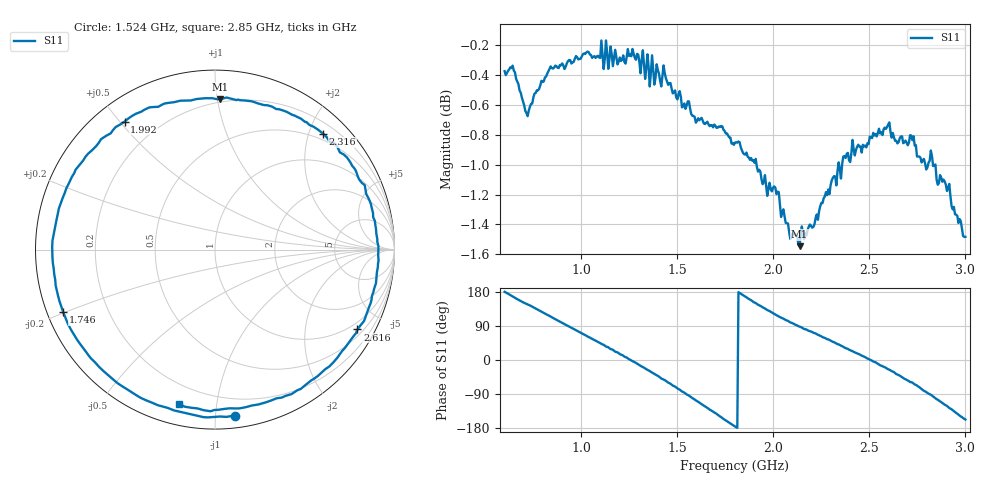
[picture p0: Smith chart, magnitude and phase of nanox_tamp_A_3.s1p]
! nanovna_capture.py 2026-10-18T19:30:34+0900
! NanoVNA-F_V2 fw 0.6.0 SN 4A3639384505514B
! cal: load open short cal'ed  over 600000000-3000000000 Hz, 201 points
! points 401, avg 4
! modified (implanted) Nano X, position A (behind left button, over implant antenna), tip touching shell, placement 3
# HZ S RI R 50
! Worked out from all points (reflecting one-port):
!   401 points, 600 MHz to 3 GHz, reference 50 ohm
!   lowest |S11| = -1.5 dB at 2.136 GHz (marker M1), VSWR 11.27, Z = 9.08 + j50.7 ohm
!   phase of S11 starts at 180 deg and turns -697 deg over the sweep
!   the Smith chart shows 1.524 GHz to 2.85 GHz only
!   S11 on the Smith chart (normalised r, x): 1.524 GHz: 0.08, -1.12; 1.746 GHz: 0.05, -0.20; 1.992 GHz: 0.09, +0.51; 2.316 GHz: 0.38, +2.25; 2.616 GHz: 0.71, -3.70; 2.85 GHz: 0.10, -0.79
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6e8  -0.9578 0.000221
7.56e8  -0.694 0.6361
9e8  -0.1329 0.9543
1.032e9  0.4559 0.8588
1.116e9  0.7343 0.6173
1.2e9  0.9315 0.2629
1.266e9  0.973 -0.0503
1.332e9  0.8804 -0.3625
1.422e9  0.6126 -0.732
1.5e9  0.2463 -0.9042
1.524e9  0.1116 -0.9248
1.632e9  -0.4406 -0.8098
1.746e9  -0.8452 -0.3497
1.8e9  -0.9035 -0.0739
1.884e9  -0.8287 0.3401
1.992e9  -0.504 0.7129
2.1e9  -0.1033 0.8389
2.136e9  0.0259 0.8366
2.232e9  0.3414 0.783
2.316e9  0.6031 0.6455
2.4e9  0.8025 0.3918
2.514e9  0.9091 -0.0315
2.616e9  0.7937 -0.4451
2.7e9  0.5351 -0.7294
2.778e9  0.1706 -0.8781
2.85e9  -0.2025 -0.8575
2.91e9  -0.4876 -0.7269
3e9  -0.7762 -0.329
